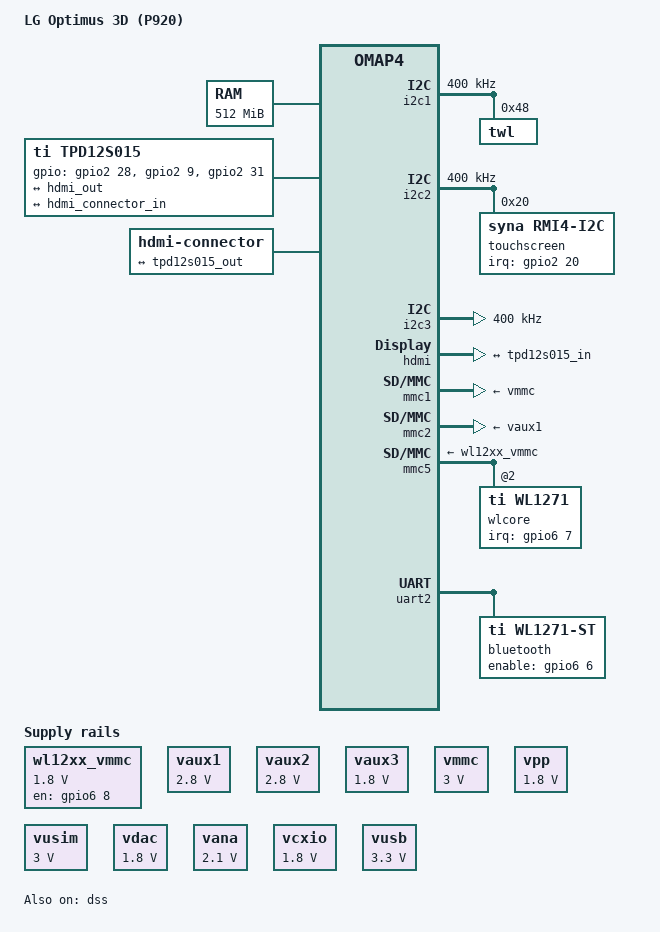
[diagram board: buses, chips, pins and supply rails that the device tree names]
// SPDX-License-Identifier: GPL-2.0-only
/dts-v1/;

#include <dt-bindings/input/input.h>
#include "omap443x.dtsi"
#include "omap443x-clocks.dtsi"

/ {
	model = "LG Optimus 3D (P920)";
	compatible = "lge,p920", "ti,omap4430", "ti,omap4";

	memory@80000000 {
		device_type = "memory";
		reg = <0x80000000 0x20000000>; /* 512 MB */
	};

	reserved-memory {
		#address-cells = <1>;
		#size-cells = <1>;
		ranges;

//		framebuffer_region@87000000 {
//			no-map;
//			reg = <0x87000000 (480 * 800 * 4)>;
//		};
	};

	chosen {
		#address-cells = <1>;
		#size-cells = <1>;
		ranges;

//		framebuffer@87000000 {
//			compatible = "simple-framebuffer";
//			reg = <0x87000000 (480 * 800 * 4)>;
//			width = <480>;
//			height = <800>;
//			stride = <(480 * 4)>;
//			format = "a8r8g8b8";
//		};
	};

	/* regulator for wl12xx on sdio5 */
	wl12xx_vmmc: wl12xx_vmmc {
		pinctrl-names = "default";
		pinctrl-0 = <&wl12xx_en>;
		compatible = "regulator-fixed";
		regulator-name = "vwl1271";
		regulator-min-microvolt = <1800000>;
		regulator-max-microvolt = <1800000>;
		gpio = <&gpio6 8 GPIO_ACTIVE_HIGH>;	/* gpio 168 */
		startup-delay-us = <70000>;
		enable-active-high;
	};

	tpd12s015: encoder {
		compatible = "ti,tpd12s015";

		gpios = <&gpio2 28 GPIO_ACTIVE_HIGH>,	/* 60, CT CP HPD */
			<&gpio2 9 GPIO_ACTIVE_HIGH>,	/* 41, LS OE */
			<&gpio2 31 GPIO_ACTIVE_HIGH>;	/* 63, HPD */

		ports {
			#address-cells = <1>;
			#size-cells = <0>;

			port@0 {
				reg = <0>;

				tpd12s015_in: endpoint {
					remote-endpoint = <&hdmi_out>;
				};
			};

			port@1 {
				reg = <1>;

				tpd12s015_out: endpoint {
					remote-endpoint = <&hdmi_connector_in>;
				};
			};
		};
	};

	hdmi0: connector {
		compatible = "hdmi-connector";
		label = "hdmi";

		type = "c";

		port {
			hdmi_connector_in: endpoint {
				remote-endpoint = <&tpd12s015_out>;
			};
		};
	};

//	ocp {
//		/delete-node/ target-module@58000000;
//	};
};

//&prm {
//	/delete-node/ prm@1100;
//};

&omap4_pmx_core {
	pinctrl-names = "default";

	uart2_pins: uart2-pins {
		pinctrl-single,pins = <
			OMAP4_IOPAD(0x118, PIN_INPUT_PULLUP | MUX_MODE0)	/* uart2_cts.uart2_cts - HCI */
			OMAP4_IOPAD(0x11a, PIN_OUTPUT | MUX_MODE0)		/* uart2_rts.uart2_rts */
			OMAP4_IOPAD(0x11c, PIN_INPUT_PULLUP | MUX_MODE0)	/* uart2_rx.uart2_rx */
			OMAP4_IOPAD(0x11e, PIN_OUTPUT | MUX_MODE0)		/* uart2_tx.uart2_tx */
		>;
	};

	i2c1_pins: pinmux_i2c1_pins {
		pinctrl-single,pins = <
			OMAP4_IOPAD(0x122, PIN_INPUT_PULLUP | MUX_MODE0)	/* i2c1_scl */
			OMAP4_IOPAD(0x124, PIN_INPUT_PULLUP | MUX_MODE0)	/* i2c1_sda */
		>;
	};

	i2c2_pins: pinmux_i2c2_pins {
		pinctrl-single,pins = <
			OMAP4_IOPAD(0x126, PIN_INPUT_PULLUP | MUX_MODE0)	/* i2c2_scl */
			OMAP4_IOPAD(0x128, PIN_INPUT_PULLUP | MUX_MODE0)	/* i2c2_sda */
		>;
	};

	i2c3_pins: pinmux_i2c3_pins {
		pinctrl-single,pins = <
			OMAP4_IOPAD(0x12a, PIN_INPUT_PULLUP | MUX_MODE0)	/* i2c3_scl */
			OMAP4_IOPAD(0x12c, PIN_INPUT_PULLUP | MUX_MODE0)	/* i2c3_sda */
		>;
	};

	i2c4_pins: pinmux_i2c4_pins {
		pinctrl-single,pins = <
			OMAP4_IOPAD(0x12e, PIN_INPUT_PULLUP | MUX_MODE0)	/* i2c4_scl */
			OMAP4_IOPAD(0x130, PIN_INPUT_PULLUP | MUX_MODE0)	/* i2c4_sda */
		>;
	};

	/* wl12xx GPIO inputs and SDIO pins */
	wl12xx_pins: wl12xx-pins {
		pinctrl-single,pins = <
			OMAP4_IOPAD(0x148, PIN_INPUT_PULLUP | MUX_MODE0)	/* sdmmc5_clk.sdmmc5_clk */
			OMAP4_IOPAD(0x14a, PIN_INPUT_PULLUP | MUX_MODE0)	/* sdmmc5_cmd.sdmmc5_cmd */
			OMAP4_IOPAD(0x14c, PIN_INPUT_PULLUP | MUX_MODE0)	/* sdmmc5_dat0.sdmmc5_dat0 */
			OMAP4_IOPAD(0x14e, PIN_INPUT_PULLUP | MUX_MODE0)	/* sdmmc5_dat1.sdmmc5_dat1 */
			OMAP4_IOPAD(0x150, PIN_INPUT_PULLUP | MUX_MODE0)	/* sdmmc5_dat2.sdmmc5_dat2 */
			OMAP4_IOPAD(0x152, PIN_INPUT_PULLUP | MUX_MODE0)	/* sdmmc5_dat3.sdmmc5_dat3 */
			OMAP4_IOPAD(0x174, PIN_INPUT | MUX_MODE3)	/* (WLAN_IRQ) */
		>;
	};

	mmc2_pins: pinmux_mmc2_pins {
		pinctrl-single,pins = <
			OMAP4_IOPAD(0x040, PIN_INPUT_PULLUP | MUX_MODE1)	/* sdmmc2_dat0 */
			OMAP4_IOPAD(0x042, PIN_INPUT_PULLUP | MUX_MODE1)	/* sdmmc2_dat1 */
			OMAP4_IOPAD(0x044, PIN_INPUT_PULLUP | MUX_MODE1)	/* sdmmc2_dat2 */
			OMAP4_IOPAD(0x046, PIN_INPUT_PULLUP | MUX_MODE1)	/* sdmmc2_dat3 */
			OMAP4_IOPAD(0x048, PIN_INPUT_PULLUP | MUX_MODE1)	/* sdmmc2_dat4 */
			OMAP4_IOPAD(0x04a, PIN_INPUT_PULLUP | MUX_MODE1)	/* sdmmc2_dat5 */
			OMAP4_IOPAD(0x04c, PIN_INPUT_PULLUP | MUX_MODE1)	/* sdmmc2_dat6 */
			OMAP4_IOPAD(0x04e, PIN_INPUT_PULLUP | MUX_MODE1)	/* sdmmc2_dat7 */
			OMAP4_IOPAD(0x082, PIN_INPUT_PULLUP | MUX_MODE1)	/* sdmmc2_clk */
			OMAP4_IOPAD(0x084, PIN_INPUT_PULLUP | MUX_MODE1)	/* sdmmc2_cmd */
		>;
	};

	mmc1_pins: pinmux_mmc1_pins {
		pinctrl-single,pins = <
			OMAP4_IOPAD(0x0e2, PIN_INPUT_PULLDOWN | MUX_MODE0)	/* sdmmc1_clk */
			OMAP4_IOPAD(0x0e4, PIN_INPUT_PULLUP | MUX_MODE0)	/* sdmcc1_cmd */
			OMAP4_IOPAD(0x0e6, PIN_INPUT_PULLUP | MUX_MODE0)	/* sdmcc1_dat0 */
			OMAP4_IOPAD(0x0e8, PIN_INPUT_PULLUP | MUX_MODE0)	/* sdmmc1_dat1 */
			OMAP4_IOPAD(0x0ea, PIN_INPUT_PULLUP | MUX_MODE0)	/* sdmmc1_dat2 */
			OMAP4_IOPAD(0x0ec, PIN_INPUT_PULLUP | MUX_MODE0)	/* sdmmc1_dat3 */
		>;
	};

	touch_pins: pinmux_touch_pins {
		pinctrl-single,pins = <
			OMAP4_IOPAD(0x0078, PIN_INPUT | MUX_MODE3)
		>;
	};

	wl12xx_en: wl12xx-enable {
		pinctrl-single,pins = <
			OMAP4_IOPAD(0x0176, PIN_OUTPUT | MUX_MODE3)		/* (WLAN_EN) */
		>;
	};

	wl12xx_bt: wl12xx-bt {
		pinctrl-single,pins = <
			OMAP4_IOPAD(0x0172, PIN_OUTPUT | MUX_MODE3)		/* (BT_EN) */
		>;
	};
};

//&gpio1 {
//	ti,no-reset-on-init;
//};

&gpio4 {
	ti,no-reset-on-init;
};

&keypad {
	keypad,num-rows = <4>;
	keypad,num-columns = <4>;
	linux,keymap = <
	MATRIX_KEY(0, 0, KEY_VOLUMEUP)
	MATRIX_KEY(0, 1, KEY_VOLUMEDOWN)
	MATRIX_KEY(1, 0, KEY_HOME)
	MATRIX_KEY(1, 1, KEY_CAMERA)
	>;
};

&i2c1 {
	pinctrl-names = "default";
	pinctrl-0 = <&i2c1_pins>;

	clock-frequency = <400000>;

	twl: twl@48 {
		reg = <0x48>;

		pinctrl-names = "default";
		pinctrl-0 = <
			&twl6030_pins
			&twl6030_wkup_pins
		>;

		/* SPI = 0, IRQ# = 7, 4 = active high level-sensitive */
		interrupts = <GIC_SPI 7 IRQ_TYPE_LEVEL_HIGH>; /* IRQ_SYS_1N cascaded to gic */
		interrupt-parent = <&gic>;
	};
};

&i2c2 {
	pinctrl-names = "default";
	pinctrl-0 = <&i2c2_pins>;

	clock-frequency = <400000>;

	touchscreen@20 {
		compatible = "syna,rmi4-i2c";
		reg = <0x20>;
		#address-cells = <1>;
		#size-cells = <0>;
		interrupts-extended = <&gpio2 20 IRQ_TYPE_EDGE_RISING>;
		pinctrl-names = "default";
		pinctrl-0 = <&touch_pins>;

		rmi4-f01@1 {
			reg = <0x1>;
			syna,nosleep-mode = <1>;
		};

		rmi4-f11@11 {
			reg = <0x11>;
			syna,sensor-type = <1>;
		};
	};
};

&i2c3 {
	pinctrl-names = "default";
	pinctrl-0 = <&i2c3_pins>;

	clock-frequency = <400000>;

//	max14526: muic@44 {
//		compatible = "maxim,max14526-muic";
//		reg = <0x44>;
//
//		interrupt-parent = <&gpio1>;
//		interrupts = <7 IRQ_TYPE_EDGE_FALLING>;
//
//		usif-gpios = <&gpio6 5 GPIO_ACTIVE_HIGH>;
//		dp2t-gpios = <&gpio1 11 GPIO_ACTIVE_HIGH>;
//	};
};

#include "twl6030_omap4.dtsi"
#include "twl6030.dtsi"

&vaux1 {
	regulator-min-microvolt = <2800000>;
	regulator-max-microvolt = <2800000>;
	regulator-boot-on;
};

&vaux2 {
	regulator-min-microvolt = <2800000>;
	regulator-max-microvolt = <2800000>;
	regulator-always-on;
	regulator-boot-on;
};

&vaux3 {
	regulator-min-microvolt = <1800000>;
	regulator-max-microvolt = <1800000>;
	regulator-always-on;
	regulator-boot-on;
};

&vmmc {
	regulator-min-microvolt = <3000000>;
	regulator-max-microvolt = <3000000>;
	regulator-boot-on;
};

&vpp {
	regulator-min-microvolt = <1800000>;
	regulator-max-microvolt = <1800000>;
};

&vusim {
	regulator-min-microvolt = <3000000>;
	regulator-max-microvolt = <3000000>;
};

&vdac {
	regulator-min-microvolt = <1800000>;
	regulator-max-microvolt = <1800000>;
	regulator-boot-on;
};

&vana {
	regulator-min-microvolt = <2100000>;
	regulator-max-microvolt = <2100000>;
};

&vcxio {
	regulator-min-microvolt = <1800000>;
	regulator-max-microvolt = <1800000>;
};

&vusb {
	regulator-min-microvolt = <3300000>;
	regulator-max-microvolt = <3300000>;
};

&twl_usb_comparator {
	usb-supply = <&vusb>;
};

&usb_otg_hs {
	interface-type = <1>;
	mode = <3>;
	power = <50>;
	//extcon = <&max14526>, <&max14526>;
};

&dss {
	status = "okay";
};

//&dsi2 {
//	status = "okay";
//	vdd-supply = <&vcxio>;
//
//	port {
//		dsi2_out_ep: endpoint {
//			remote-endpoint = <&lcd0_in>;
//			lanes = <4 5 2 3 0 1>;
//		};
//	};
//
//	lcd0: panel@0 {
//		compatible = "lg,lh430wv1_sd01", "panel-simple-dsi";
//		reg = <0>;
//		label = "lcd0";
//
//		te-gpios = <&gpio4 7 GPIO_ACTIVE_HIGH>;	/* 103 */
//		enable-gpios = <&gpio1 27 GPIO_ACTIVE_HIGH>;	/* 27 */
//		reset-gpios = <&gpio1 30 GPIO_ACTIVE_HIGH>;	/* 30 */
//
//		port {
//			lcd0_in: endpoint {
//				remote-endpoint = <&dsi2_out_ep>;
//			};
//		};
//	};
//};

&hdmi {
	status = "okay";
	vdda-supply = <&vdac>;

	port {
		hdmi_out: endpoint {
			remote-endpoint = <&tpd12s015_in>;
		};
	};
};

&mmc1 {
	status = "okay";
	pinctrl-names = "default";
	pinctrl-0 = <&mmc1_pins>;

	vmmc-supply = <&vmmc>;
	ti,bus-width = <4>;
};

&mmc2 {
	pinctrl-names = "default";
	pinctrl-0 = <&mmc2_pins>;

	vmmc-supply = <&vaux1>;
	ti,non-removable;
	ti,bus-width = <8>;
};

&mmc3 {
	status = "disabled";
};

&mmc4 {
	status = "disabled";
};

&mmc5 {
	pinctrl-names = "default";
	pinctrl-0 = <&wl12xx_pins>;
	vmmc-supply = <&wl12xx_vmmc>;
	ti,bus-width = <4>;
	ti,non-removable;
	status = "okay";
	cap-power-off-card;
	keep-power-in-suspend;

	#address-cells = <1>;
	#size-cells = <0>;
	wlcore: wlcore@2 {
		compatible = "ti,wl1271";
		reg = <2>;
		interrupt-parent = <&gpio6>;
		interrupts = <7 IRQ_TYPE_LEVEL_HIGH>; /* gpio 167 */
		ref-clock-frequency = <38400000>;
		tcxo-clock-frequency = <38400000>;
	};
};

&uart2 {
	pinctrl-names = "default";
	pinctrl-0 = <&uart2_pins &wl12xx_bt>;
	bluetooth {
		compatible = "ti,wl1271-st";
		enable-gpios = <&gpio6 6 GPIO_ACTIVE_HIGH>;	/* gpio 166 */
		max-speed = <3686400>;
	};
};
